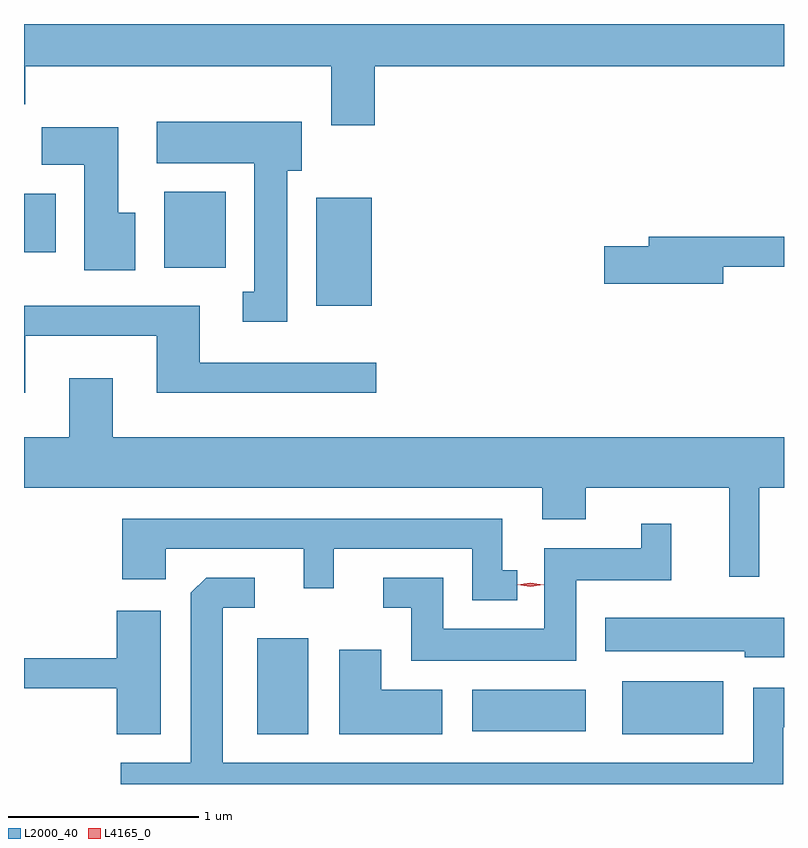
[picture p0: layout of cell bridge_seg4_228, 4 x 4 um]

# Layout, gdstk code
import gdstk
lib = gdstk.Library(unit=1e-6, precision=1e-09)
def R(c, l, rs):  # rectangles x0, y0, x1, y1
    for r in rs: c.add(gdstk.rectangle(r[:2], r[2:], *l))
def P(c, l, *ps):  # polygons
    for p in ps: c.add(gdstk.Polygon(p, *l))
L2000_40 = (2000, 40)
L4165_0 = (4165, 0)

bridge_seg4_228 = lib.new_cell('bridge_seg4_228')
R(bridge_seg4_228, L2000_40, [(1070.361,1269.021,1070.629,1269.524), (1072.281,1269.021,1072.814,1269.299), (1071.491,1269.036,1072.089,1269.254), (1070.671,1271.276,1070.964,1271.844), (1069.871,1271.476,1070.194,1271.874), (1069.133,1271.556,1069.299,1271.864)])
P(bridge_seg4_228, L2000_40, [(1070.979,1272.536),(1073.133,1272.536),(1073.133,1272.758),(1069.133,1272.758),(1069.133,1272.336),(1069.139,1272.336),(1069.139,1272.536),(1070.751,1272.536),(1070.751,1272.226),(1070.979,1272.226)],
  [(1070.519,1271.986),(1070.594,1271.986),(1070.594,1272.244),(1069.831,1272.244),(1069.831,1272.026),(1070.346,1272.026),(1070.346,1271.349),(1070.283,1271.349),(1070.283,1271.191),(1070.519,1271.191)],
  [(1069.719,1271.764),(1069.629,1271.764),(1069.629,1272.214),(1069.226,1272.214),(1069.226,1272.016),(1069.451,1272.016),(1069.451,1271.461),(1069.719,1271.461)],
  [(1072.814,1271.481),(1073.133,1271.481),(1073.133,1271.639),(1072.421,1271.639),(1072.421,1271.589),(1072.186,1271.589),(1072.186,1271.391),(1072.814,1271.391)],
  [(1069.139,1271.116),(1069.831,1271.116),(1069.831,1270.816),(1070.988,1270.816),(1070.988,1270.974),(1070.059,1270.974),(1070.059,1271.274),(1069.133,1271.274),(1069.133,1270.816),(1069.139,1270.816)],
  [(1073.004,1270.316),(1073.133,1270.316),(1073.133,1270.584),(1069.599,1270.584),(1069.599,1270.894),(1069.371,1270.894),(1069.371,1270.584),(1069.133,1270.584),(1069.133,1270.316),(1071.861,1270.316),(1071.861,1270.151),(1072.089,1270.151),(1072.089,1270.316),(1072.846,1270.316),(1072.846,1269.848),(1073.004,1269.848)],
  [(1071.728,1269.884),(1071.649,1269.884),(1071.649,1270.154),(1069.651,1270.154),(1069.651,1269.836),(1069.879,1269.836),(1069.879,1269.996),(1070.606,1269.996),(1070.606,1269.788),(1070.764,1269.788),(1070.764,1269.996),(1071.491,1269.996),(1071.491,1269.726),(1071.728,1269.726)],
  [(1072.039,1269.831),(1072.539,1269.831),(1072.539,1270.128),(1072.381,1270.128),(1072.381,1269.999),(1071.871,1269.999),(1071.871,1269.574),(1071.339,1269.574),(1071.339,1269.844),(1071.023,1269.844),(1071.023,1269.686),(1071.171,1269.686),(1071.171,1269.406),(1072.039,1269.406)],
  [(1073.129,1269.056),(1073.133,1269.056),(1073.133,1269.264),(1072.971,1269.264),(1072.971,1268.869),(1070.179,1268.869),(1070.179,1269.686),(1070.348,1269.686),(1070.348,1269.844),(1070.092,1269.844),(1070.011,1269.764),(1070.011,1268.869),(1069.643,1268.869),(1069.643,1268.758),(1073.129,1268.758)],
  [(1069.854,1269.669),(1069.621,1269.669),(1069.621,1269.419),(1069.133,1269.419),(1069.133,1269.261),(1069.621,1269.261),(1069.621,1269.021),(1069.854,1269.021)],
  [(1073.133,1269.634),(1072.191,1269.634),(1072.191,1269.456),(1072.926,1269.456),(1072.926,1269.426),(1073.133,1269.426)],
  [(1071.334,1269.254),(1071.014,1269.254),(1071.014,1269.464),(1070.791,1269.464),(1070.791,1269.021),(1071.334,1269.021)])
P(bridge_seg4_228, L4165_0, [(1071.798,1269.797),(1071.729,1269.806),(1071.729,1269.807),(1071.729,1269.808),(1071.798,1269.817),(1071.868,1269.808),(1071.868,1269.807),(1071.868,1269.806)])

lib.write_gds('bridge_seg4_228.gds')
